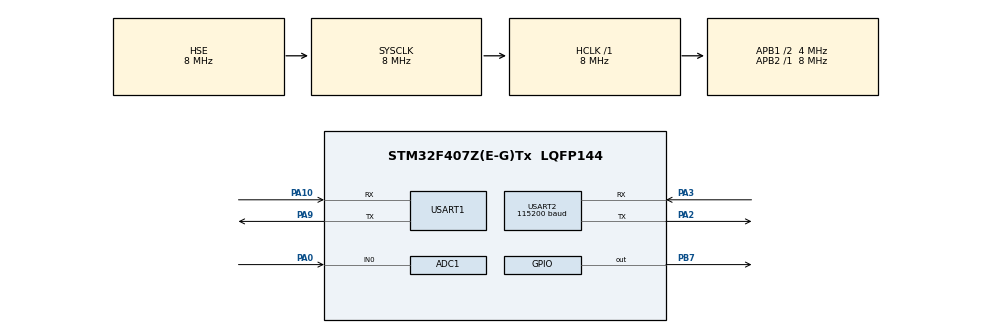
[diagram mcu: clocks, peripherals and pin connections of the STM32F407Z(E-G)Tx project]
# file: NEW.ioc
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ADC1.Channel-0\#ChannelRegularConversion=ADC_CHANNEL_0
ADC1.NbrOfConversionFlag=1
ADC1.Rank-0\#ChannelRegularConversion=1
ADC1.SamplingTime-0\#ChannelRegularConversion=ADC_SAMPLETIME_3CYCLES
ADC1.master=1
Mcu.Family=STM32F4
Mcu.Name=STM32F407Z(E-G)Tx
Mcu.Package=LQFP144
NVIC.PriorityGroup=NVIC_PRIORITYGROUP_4
NVIC.RCC_IRQn=true\:0\:0\:false\:false\:true\:true\:false\:true
NVIC.TIM2_IRQn=true\:0\:0\:false\:false\:true\:true\:true\:true
NVIC.USART1_IRQn=true\:0\:0\:false\:false\:true\:true\:true\:true
NVIC.USART2_IRQn=true\:0\:0\:false\:false\:true\:true\:true\:true
PA0-WKUP.Signal=ADCx_IN0
PA10.Mode=Asynchronous
PA10.Signal=USART1_RX
PA13.Mode=Serial_Wire
PA13.Signal=SYS_JTMS-SWDIO
PA14.Mode=Serial_Wire
PA14.Signal=SYS_JTCK-SWCLK
PA2.Mode=Asynchronous
PA2.Signal=USART2_TX
PA3.Mode=Asynchronous
PA3.Signal=USART2_RX
PA9.Mode=Asynchronous
PA9.Signal=USART1_TX
PB7.GPIO_ModeDefaultOutputPP=GPIO_MODE_OUTPUT_PP
PB7.GPIO_PuPd=GPIO_NOPULL
PB7.GPIO_Speed=GPIO_SPEED_FREQ_VERY_HIGH
PB7.PinState=GPIO_PIN_RESET
PB7.Signal=GPIO_Output
PH0-OSC_IN.Mode=HSE-External-Oscillator
PH0-OSC_IN.Signal=RCC_OSC_IN
PH1-OSC_OUT.Mode=HSE-External-Oscillator
PH1-OSC_OUT.Signal=RCC_OSC_OUT
ProjectManager.HeapSize=0x200
ProjectManager.StackSize=0x400
ProjectManager.TargetToolchain=MDK-ARM V5
RCC.48MHZClocksFreq_Value=36000000
RCC.AHBFreq_Value=8000000
RCC.APB1CLKDivider=RCC_HCLK_DIV2
RCC.APB1Freq_Value=4000000
RCC.APB1TimFreq_Value=8000000
RCC.APB2Freq_Value=8000000
RCC.APB2TimFreq_Value=8000000
RCC.CortexFreq_Value=8000000
RCC.HCLKFreq_Value=8000000
RCC.HSE_VALUE=8000000
RCC.HSI_VALUE=16000000
RCC.LSE_VALUE=32768
RCC.PLLM=8
RCC.PLLN=72
RCC.SYSCLKFreq_VALUE=8000000
RCC.SYSCLKSource=RCC_SYSCLKSOURCE_HSE
RCC.VCOOutputFreq_Value=144000000
SH.ADCx_IN0.0=ADC1_IN0,IN0
TIM2.Prescaler=72-1
USART1.VirtualMode=VM_ASYNC
USART2.BaudRate=115200
USART2.VirtualMode=VM_ASYNC
VP_TIM2_VS_ClockSourceINT.Mode=Internal
board=custom

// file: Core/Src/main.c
/* USER CODE BEGIN Header */
/**
  ******************************************************************************
  * @file           : main.c
  * @brief          : Main program body
  ******************************************************************************
  * @attention
  *
  * Copyright (c) 2025 STMicroelectronics.
  * All rights reserved.
  *
  * This software is licensed under terms that can be found in the LICENSE file
  * in the root directory of this software component.
  * If no LICENSE file comes with this software, it is provided AS-IS.
  *
  ******************************************************************************
  */
/* USER CODE END Header */
#include "main.h"
#include "adc.h"
#include "tim.h"
#include "usart.h"
#include "gpio.h"

/* USER CODE BEGIN Includes */
#include "stdio.h"
#include "string.h"
#include "ctype.h"
// 稍后我们会重新启用sensor.h
#include "sensor.h"
#include "core_cm4.h"
/* USER CODE END Includes */

/* USER CODE BEGIN PD */
// 串口接收缓冲区大�?
#define UART_RX_BUFFER_SIZE 1024  // 增加缓冲区大�?

// OneNET MQTT 相关定义
#define MQTT_USERCFG "AT+MQTTUSERCFG=0,1,\"d1\",\"f04YhrRc9T\",\"version=2018-10-31&res=products%2Ff04YhrRc9T%2Fdevices%2Fd1&et=2042628885&method=md5&sign=ISybjS%2B%2F0HV3P5suvrapGQ%3D%3D\",0,0,\"\"\r\n"
#define MQTT_CONN "AT+MQTTCONN=0,\"mqtts.heclouds.com\",1883,1\r\n"
#define MQTT_TOPIC "$sys/f04YhrRc9T/d1/thing/property/post"
#define MQTT_PUBRAW_HEADER "AT+MQTTPUBRAW=0,\"$sys/f04YhrRc9T/d1/thing/property/post\","

// 状�?�定�?
#define STATUS_INIT             0
#define STATUS_WIFI_CONNECTING  1
#define STATUS_MQTT_CONFIG      2
#define STATUS_MQTT_CONNECTING  3
#define STATUS_MQTT_CONNECTED   4
#define STATUS_MQTT_PUBLISHING  5
#define STATUS_MQTT_PUBLISHED   6
#define STATUS_ERROR            7

// 数据发�?�间�? (3�?)
#define PUBLISH_INTERVAL 3000
/* USER CODE END PD */

/* USER CODE BEGIN PV */
/* USER CODE BEGIN PV */
// 串口1接收缓冲�?
uint8_t uart1RxByte;
uint8_t uart1RxBuffer[UART_RX_BUFFER_SIZE];
volatile uint16_t uart1RxCount = 0;

// 串口2接收缓冲�?
uint8_t uart2RxByte;
uint8_t uart2RxBuffer[UART_RX_BUFFER_SIZE];
volatile uint16_t uart2RxCount = 0;

// 命令完成标志
volatile uint8_t cmdReady = 0;

// MQTT状�??
volatile uint8_t mqttStatus = STATUS_INIT;

// 消息ID计数�?
uint32_t messageId = 1;

// 数据上报定时�?
uint32_t lastPublishTime = 0;

// 模拟传感器数�? (递增)
int32_t tempValue = 20;  // 初始温度
int32_t humiValue = 40;  // 初始湿度

// ESP8266响应测试定时�?
uint32_t responseTimeout = 0;
const uint32_t MAX_RESPONSE_TIMEOUT = 10000; // 增加10秒超�?

// 重试计数�?
uint8_t retryCount = 0;
const uint8_t MAX_RETRY_COUNT = 3;

// 上次接收数据的时�?
uint32_t lastReceiveTime = 0;

// 发�?�后等待标志
volatile uint8_t waitAfterResponse = 0;
// 发�?�后等待时间
uint32_t waitStartTime = 0;
const uint32_t WAIT_AFTER_RESPONSE = 1000; // 获得应答后等�?1�?

// AT命令发�?�时间记录器
volatile uint32_t lastCommandTime = 0;
/* USER CODE END PV */

void SystemClock_Config(void);
/* USER CODE BEGIN PFP */
void printDebug(char* message);
void sendATCommand(char* command);
void publishSensorData(void);
void connectToMQTT(void);
uint8_t checkResponse(char* expectedResponse);
void processESP8266Response(void);
void clearBuffer(void);
void resetESP8266(void);
/* USER CODE END PFP */

/* USER CODE BEGIN 0 */
// �?单的调试打印函数
void printDebug(char* message) {
    HAL_UART_Transmit(&huart1, (uint8_t*)message, strlen(message), HAL_MAX_DELAY);
}

// 连接到MQTT服务�?
void connectToMQTT(void) {
    // 打印调试信息
    printDebug("[MQTT] Starting MQTT connection process...\r\n");

    // 发�?�MQTT配置命令
    sendATCommand(MQTT_USERCFG);
    mqttStatus = STATUS_MQTT_CONFIG;

    // 等待2�?
    HAL_Delay(2000);

    // 发�?�MQTT连接命令
    sendATCommand(MQTT_CONN);
    mqttStatus = STATUS_MQTT_CONNECTING;
}

// 向ESP8266发�?�AT命令
void sendATCommand(char* command) {
    // 清空接收缓冲�?
    memset(uart2RxBuffer, 0, UART_RX_BUFFER_SIZE);
    uart2RxCount = 0;

    // 发�?�AT命令到ESP8266
    HAL_UART_Transmit(&huart2, (uint8_t*)command, strlen(command), HAL_MAX_DELAY);

    // 记录发�?�时�?
    lastCommandTime = HAL_GetTick();
}

// �?查ESP8266的响应中是否包含指定字符�?
uint8_t checkResponse(char* expectedResponse) {
    // 忽略大小写搜索，提高兼容�?
    char lowerBuffer[UART_RX_BUFFER_SIZE];
    char lowerExpected[100];

    // 复制并转换为小写
    strncpy(lowerBuffer, (char*)uart2RxBuffer, UART_RX_BUFFER_SIZE-1);
    lowerBuffer[UART_RX_BUFFER_SIZE-1] = '\0';

    strncpy(lowerExpected, expectedResponse, 99);
    lowerExpected[99] = '\0';

    // 转换为小�?
    for(int i = 0; lowerBuffer[i]; i++) {
        lowerBuffer[i] = tolower(lowerBuffer[i]);
    }

    for(int i = 0; lowerExpected[i]; i++) {
        lowerExpected[i] = tolower(lowerExpected[i]);
    }

    return (strstr(lowerBuffer, lowerExpected) != NULL);
}

// 清空缓冲�?
void clearBuffer(void) {
    memset(uart2RxBuffer, 0, UART_RX_BUFFER_SIZE);
    uart2RxCount = 0;
}

// 重置ESP8266模块 - 更可靠的版本
void resetESP8266(void) {
    printDebug("\r\n[RESET] Resetting ESP8266...\r\n");

    // 清空缓冲�?
    clearBuffer();

    // 发�?�重置命�?
    HAL_UART_Transmit(&huart2, (uint8_t*)"AT+RST\r\n", 8, HAL_MAX_DELAY);

    // 等待ESP8266重启
    printDebug("[RESET] Waiting for ESP8266 to fully restart (10 seconds)...\r\n");
    HAL_Delay(10000);

    // 清空缓冲�?
    clearBuffer();

    // 发�?�几个AT命令确保通信同步
    for (int i = 0; i < 3; i++) {
        HAL_UART_Transmit(&huart2, (uint8_t*)"AT\r\n", 4, HAL_MAX_DELAY);
        HAL_Delay(500);
    }

    printDebug("[RESET] ESP8266 reset complete, restarting connection process\r\n");

    // 重置�?有状�?
    mqttStatus = STATUS_INIT;
    retryCount = 0;
}

// 处理ESP8266的响�?
void processESP8266Response(void) {
    // 更新上次接收时间
    lastReceiveTime = HAL_GetTick();

    // 在初始状态收到AT的OK响应, 直接发�?�MQTT配置命令
    if(mqttStatus == STATUS_INIT && checkResponse("OK")) {
        // 清空缓冲�?
        clearBuffer();

        // 直接发�?�MQTT用户配置命令
        sendATCommand(MQTT_USERCFG);

        // 更新状�??
        mqttStatus = STATUS_MQTT_CONFIG;
        return;
    }

    // �?查MQTT配置成功
    if(mqttStatus == STATUS_MQTT_CONFIG && checkResponse("OK")) {
        // 清空缓冲�?
        clearBuffer();

        // 更新状�??
        mqttStatus = STATUS_MQTT_CONNECTING;

        // 发�?�连接命�?
        sendATCommand(MQTT_CONN);
        return;
    }

    // 测试MQTT连接成功
    if(checkResponse("+MQTTCONNECTED") || checkResponse("+MQTTCNNECTD") ||
       checkResponse("+MQTTCNNECT") || checkResponse("CONNECTED") ||
       checkResponse("MQTT CONNECTED")) {
        // 清空缓冲�?
        clearBuffer();

        // 更新状�??
        mqttStatus = STATUS_MQTT_CONNECTED;
        retryCount = 0;

        // 连接成功后，设置首次发布时间
        lastPublishTime = HAL_GetTick();
        return;
    }

    // 测试发布就绪标志">"
    if(checkResponse(">")) {
        // 构建JSON数据
        char jsonData[256];
        sprintf(jsonData, "{\"id\": \"%u\",\"version\": \"1.0\",\"params\": {\"temp\":{\"value\": %d},\"humi\":{\"value\": %d}}}",
                messageId++,
                tempValue,
                humiValue);

        // 通过串口2发�?�JSON数据到ESP8266
        HAL_UART_Transmit(&huart2, (uint8_t*)jsonData, strlen(jsonData), HAL_MAX_DELAY);

        // 每次发�?�后递增数�??
        tempValue++;
        humiValue++;

        mqttStatus = STATUS_MQTT_PUBLISHED;
        clearBuffer();

        // 设置响应超时
        responseTimeout = HAL_GetTick();
        return;
    }

    // 发�?�确�?
    if(checkResponse("+MQTTPUB:OK") || checkResponse("+MQTTPUB:") ||
       checkResponse("+MQTTPUB") || checkResponse("PUB:OK")) {
        mqttStatus = STATUS_MQTT_CONNECTED; // 返回连接状�?�，准备下一次发�?

        // 设置等待标志和时�?
        waitAfterResponse = 1;
        waitStartTime = HAL_GetTick();

        retryCount = 0;
        return;
    }

    // �?查错误响�?
    if(checkResponse("ERROR") || checkResponse("FAIL") || checkResponse("+MQTTDISCONNECTED") ||
       checkResponse("DISCONNECTED") || checkResponse("DISCONNECT")) {
        mqttStatus = STATUS_ERROR;
    }

    // 错误状�?�处�?
    if(mqttStatus == STATUS_ERROR) {
        if(retryCount < MAX_RETRY_COUNT) {
            retryCount++;
            connectToMQTT();
        } else {
            resetESP8266();
        }
    }
}

// 处理串口2数据
void processUart2Data() {
    // 直接转发每个收到的字符到串口1（调试输出）
    HAL_UART_Transmit(&huart1, &uart2RxByte, 1, HAL_MAX_DELAY);

    // 存储字符到缓冲区
    if(uart2RxCount < UART_RX_BUFFER_SIZE - 1) {
        uart2RxBuffer[uart2RxCount++] = uart2RxByte;
        uart2RxBuffer[uart2RxCount] = '\0';  // 确保字符串始终以null结尾
    }

    // �?测到换行符，处理完整的响�?
    if(uart2RxByte == '\n' || uart2RxByte == '\r' || uart2RxCount >= UART_RX_BUFFER_SIZE - 1) {
        // 打印调试信息
        char debugMsg[32];
        sprintf(debugMsg, "[DEBUG] Status: %d\r\n", mqttStatus);
        printDebug(debugMsg);

        // 根据当前状�?�处理数�?
        switch(mqttStatus) {
            case STATUS_MQTT_CONFIG:
                // 等待2�?
                HAL_Delay(2000);
                // 发�?�MQTT连接命令
                printDebug("[MQTT] Sending connection command...\r\n");
                sendATCommand(MQTT_CONN);
                mqttStatus = STATUS_MQTT_CONNECTING;
                break;

            case STATUS_MQTT_CONNECTING:
                if(strstr((char*)uart2RxBuffer, "+MQTTCONNECTED") ||
                   strstr((char*)uart2RxBuffer, "CONNECTED")) {
                    printDebug("[MQTT] Connected successfully\r\n");
                    mqttStatus = STATUS_MQTT_CONNECTED;
                    lastPublishTime = HAL_GetTick();  // 准备首次发布
                }
                break;

            case STATUS_MQTT_PUBLISHING:
                if(strstr((char*)uart2RxBuffer, ">")) {
                    // 准备发�?�数�?
                    char jsonData[256];
                    sprintf(jsonData, "{\"id\":\"%u\",\"version\":\"1.0\",\"params\":{\"temp\":{\"value\":%d},\"humi\":{\"value\":%d}}}",
                            messageId++, tempValue++, humiValue++);
                    HAL_UART_Transmit(&huart2, (uint8_t*)jsonData, strlen(jsonData), HAL_MAX_DELAY);
                    mqttStatus = STATUS_MQTT_PUBLISHED;
                }
                break;

            case STATUS_MQTT_PUBLISHED:
                if(strstr((char*)uart2RxBuffer, "+MQTTPUB:OK") ||
                   strstr((char*)uart2RxBuffer, "PUB:OK")) {
                    printDebug("[MQTT] Data published successfully\r\n");
                    mqttStatus = STATUS_MQTT_CONNECTED;
                    lastPublishTime = HAL_GetTick();
                }
                break;
        }

        // �?查错误响�?
        if(strstr((char*)uart2RxBuffer, "ERROR") ||
           strstr((char*)uart2RxBuffer, "FAIL") ||
           strstr((char*)uart2RxBuffer, "DISCONNECT")) {
            printDebug("[ERROR] Command failed\r\n");
            mqttStatus = STATUS_ERROR;
        }

        // 清空缓冲�?
        memset(uart2RxBuffer, 0, UART_RX_BUFFER_SIZE);
        uart2RxCount = 0;
    }

    // 继续接收下一个字�?
    HAL_UART_Receive_IT(&huart2, &uart2RxByte, 1);
}

// 串口接收回调函数
void HAL_UART_RxCpltCallback(UART_HandleTypeDef *huart)
{
    if(huart->Instance == USART1)
    {
        // 继续接收
        HAL_UART_Receive_IT(&huart1, &uart1RxByte, 1);
    }
    else if(huart->Instance == USART2)
    {
        // 处理ESP8266返回的数�?
        processUart2Data();

        // 继续接收
        HAL_UART_Receive_IT(&huart2, &uart2RxByte, 1);
    }
}
/* USER CODE END 0 */

int main(void)
{

  /* MCU Configuration--------------------------------------------------------*/

  /* Reset of all peripherals, Initializes the Flash interface and the Systick. */
  HAL_Init();

  /* Configure the system clock */
  SystemClock_Config();

  /* Initialize all configured peripherals */
  MX_GPIO_Init();
  MX_TIM2_Init();
  MX_USART2_UART_Init();
  MX_ADC1_Init();
  MX_USART1_UART_Init();
  /* USER CODE BEGIN 2 */
	printf("1111111111111111");
  // 初始化串口接�?

  // 初始化传感器
  Sensor_Init();

  // 等待系统稳定
  //HAL_Delay(2000);

  // 发�?�MQTT配置命令
  printDebug("[MQTT] Sending MQTT configuration command...\r\n");
  sendATCommand(MQTT_USERCFG);
  mqttStatus = STATUS_MQTT_CONFIG;

  // 等待2�?
  //HAL_Delay(2000);

  // 发�?�MQTT连接命令
  printDebug("[MQTT] Sending MQTT connection command...\r\n");
  sendATCommand(MQTT_CONN);
  mqttStatus = STATUS_MQTT_CONNECTING;
  HAL_UART_Receive_IT(&huart1, &uart1RxByte, 1);
  HAL_UART_Receive_IT(&huart2, &uart2RxByte, 1);
  /* USER CODE END 2 */

  /* Infinite loop */
  while (1)
  {

    /* USER CODE BEGIN 3 */
    // 如果MQTT已连接且距离上次发布超过3�?
    if(mqttStatus == STATUS_MQTT_CONNECTED &&
       (HAL_GetTick() - lastPublishTime) >= PUBLISH_INTERVAL)
    {
        // 获取传感器数据并通过MQTT发布
        char pubCommand[128];
        sprintf(pubCommand, "%s%d\r\n", MQTT_PUBRAW_HEADER, messageId);
        sendATCommand(pubCommand);
        mqttStatus = STATUS_MQTT_PUBLISHING;

        // 更新发布时间
        lastPublishTime = HAL_GetTick();
    }

    // �?查是否需要重置ESP8266
    if(mqttStatus == STATUS_ERROR)
    {
        if(retryCount < MAX_RETRY_COUNT)
        {
            retryCount++;
            printDebug("[ERROR] Connection failed, retrying...\r\n");
            HAL_Delay(1000);
            sendATCommand(MQTT_USERCFG);
            mqttStatus = STATUS_MQTT_CONFIG;
        }
        else
        {
            printDebug("[ERROR] Max retry count reached, resetting ESP8266...\r\n");
            resetESP8266();
            retryCount = 0;
        }
    }
  }
  /* USER CODE END 3 */
}

void SystemClock_Config(void)
{
  RCC_OscInitTypeDef RCC_OscInitStruct = {0};
  RCC_ClkInitTypeDef RCC_ClkInitStruct = {0};

  /** Configure the main internal regulator output voltage
  */
  __HAL_RCC_PWR_CLK_ENABLE();
  __HAL_PWR_VOLTAGESCALING_CONFIG(PWR_REGULATOR_VOLTAGE_SCALE1);

  /** Initializes the RCC Oscillators according to the specified parameters
  * in the RCC_OscInitTypeDef structure.
  */
  RCC_OscInitStruct.OscillatorType = RCC_OSCILLATORTYPE_HSE;
  RCC_OscInitStruct.HSEState = RCC_HSE_ON;
  RCC_OscInitStruct.PLL.PLLState = RCC_PLL_NONE;
  if (HAL_RCC_OscConfig(&RCC_OscInitStruct) != HAL_OK)
  {
    Error_Handler();
  }

  /** Initializes the CPU, AHB and APB buses clocks
  */
  RCC_ClkInitStruct.ClockType = RCC_CLOCKTYPE_HCLK|RCC_CLOCKTYPE_SYSCLK
                              |RCC_CLOCKTYPE_PCLK1|RCC_CLOCKTYPE_PCLK2;
  RCC_ClkInitStruct.SYSCLKSource = RCC_SYSCLKSOURCE_HSE;
  RCC_ClkInitStruct.AHBCLKDivider = RCC_SYSCLK_DIV1;
  RCC_ClkInitStruct.APB1CLKDivider = RCC_HCLK_DIV2;
  RCC_ClkInitStruct.APB2CLKDivider = RCC_HCLK_DIV1;

  if (HAL_RCC_ClockConfig(&RCC_ClkInitStruct, FLASH_LATENCY_0) != HAL_OK)
  {
    Error_Handler();
  }
}

void Error_Handler(void)
{
  __disable_irq();
  while (1)
  {
  }
}
